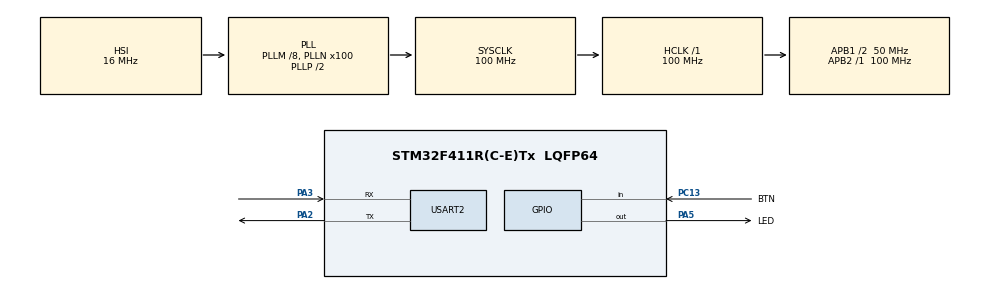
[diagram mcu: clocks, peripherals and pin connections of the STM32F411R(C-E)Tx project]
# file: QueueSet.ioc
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FREERTOS.Tasks01=defaultTask,24,128,StartDefaultTask,Default,NULL,Dynamic,NULL,NULL
FREERTOS.configUSE_NEWLIB_REENTRANT=1
Mcu.Family=STM32F4
Mcu.Name=STM32F411R(C-E)Tx
Mcu.Package=LQFP64
NVIC.PriorityGroup=NVIC_PRIORITYGROUP_4
NVIC.TIM1_UP_TIM10_IRQn=true\:15\:0\:false\:false\:true\:false\:false\:true\:true
NVIC.TimeBase=TIM1_UP_TIM10_IRQn
NVIC.TimeBaseIP=TIM1
PA13.Mode=Serial_Wire
PA13.Signal=SYS_JTMS-SWDIO
PA14.Mode=Serial_Wire
PA14.Signal=SYS_JTCK-SWCLK
PA2.Mode=Asynchronous
PA2.Signal=USART2_TX
PA3.Mode=Asynchronous
PA3.Signal=USART2_RX
PA5.GPIO_Label=LED
PA5.Signal=GPIO_Output
PC13-ANTI_TAMP.GPIO_Label=BTN
PC13-ANTI_TAMP.Signal=GPIO_Input
ProjectManager.HeapSize=0x200
ProjectManager.StackSize=0x400
ProjectManager.TargetToolchain=STM32CubeIDE
RCC.48MHZClocksFreq_Value=50000000
RCC.AHBFreq_Value=100000000
RCC.APB1CLKDivider=RCC_HCLK_DIV2
RCC.APB1Freq_Value=50000000
RCC.APB1TimFreq_Value=100000000
RCC.APB2Freq_Value=100000000
RCC.APB2TimFreq_Value=100000000
RCC.CortexFreq_Value=100000000
RCC.HCLKFreq_Value=100000000
RCC.HSE_VALUE=25000000
RCC.HSI_VALUE=16000000
RCC.LSE_VALUE=32768
RCC.PLLM=8
RCC.PLLN=100
RCC.SYSCLKFreq_VALUE=100000000
RCC.SYSCLKSource=RCC_SYSCLKSOURCE_PLLCLK
RCC.VCOOutputFreq_Value=200000000
USART2.VirtualMode=VM_ASYNC
VP_FREERTOS_VS_CMSIS_V2.Mode=CMSIS_V2
VP_SYS_VS_tim1.Mode=TIM1
board=custom

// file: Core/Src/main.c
/* USER CODE BEGIN Header */
/**
  ******************************************************************************
  * @file           : main.c
  * @brief          : Main program body
  ******************************************************************************
  * @attention
  *
  * Copyright (c) 2025 STMicroelectronics.
  * All rights reserved.
  *
  * This software is licensed under terms that can be found in the LICENSE file
  * in the root directory of this software component.
  * If no LICENSE file comes with this software, it is provided AS-IS.
  *
  ******************************************************************************
  */
/* USER CODE END Header */
#include "main.h"
#include "cmsis_os.h"

/* USER CODE BEGIN Includes */
#include "FreeRTOSConfig.h"
/**
 * FreeRTOSConfig.h dosyasında #define configUSE_QUEUE_SETS    1 tanımı yapılmıştır.
 * Bu tanım yapılmadığınde queue set fonksiyonları derlenememektedir
 */
#include "stdio.h"
#include "string.h"
#include "queue.h"

/* USER CODE END Includes */

UART_HandleTypeDef huart2;

void SystemClock_Config(void);
static void MX_GPIO_Init(void);
static void MX_USART2_UART_Init(void);

/* USER CODE BEGIN 0 */
typedef struct{
	uint8_t val1;
	uint8_t val2;
	char val3;
}msg_type1_t;

typedef struct{
	uint8_t val1;
	float val2;
}msg_type2_t;

void Tx_Task1(void *param);
void Tx_Task2(void *param);
void Rx_Task(void *param);

TaskHandle_t tx1_task_handle;
TaskHandle_t tx2_task_handle;
TaskHandle_t rx_task_handle;

QueueHandle_t q_tx1_handle;
QueueHandle_t q_tx2_handle;
QueueSetHandle_t q_set_handle;

/* USER CODE END 0 */

int main(void)
{

  /* MCU Configuration--------------------------------------------------------*/

  /* Reset of all peripherals, Initializes the Flash interface and the Systick. */
  HAL_Init();

  /* Configure the system clock */
  SystemClock_Config();

  /* Initialize all configured peripherals */
  MX_GPIO_Init();
  MX_USART2_UART_Init();

  /* Init scheduler */
  osKernelInitialize();

  /* USER CODE BEGIN RTOS_EVENTS */
  /* add events, ... */

  xTaskCreate(Tx_Task1, "Tx_Task1", 512, NULL, 2, &tx1_task_handle);
  xTaskCreate(Tx_Task2, "Tx_Task2", 512, NULL, 2, &tx2_task_handle);
  xTaskCreate(Rx_Task, "Rx_Task", 512, NULL, 1, &rx_task_handle);

  q_tx1_handle = xQueueCreate(5, sizeof(msg_type1_t));
  q_tx2_handle = xQueueCreate(5, sizeof(msg_type2_t));

  q_set_handle = xQueueCreateSet(30);
  xQueueAddToSet(q_tx1_handle, q_set_handle);
  xQueueAddToSet(q_tx2_handle, q_set_handle);

  vTaskStartScheduler();

  /* USER CODE END RTOS_EVENTS */

  /* We should never get here as control is now taken by the scheduler */

  /* Infinite loop */
  while (1)
  {

  }
}

void SystemClock_Config(void)
{
  RCC_OscInitTypeDef RCC_OscInitStruct = {0};
  RCC_ClkInitTypeDef RCC_ClkInitStruct = {0};

  /** Configure the main internal regulator output voltage
  */
  __HAL_RCC_PWR_CLK_ENABLE();
  __HAL_PWR_VOLTAGESCALING_CONFIG(PWR_REGULATOR_VOLTAGE_SCALE1);

  /** Initializes the RCC Oscillators according to the specified parameters
  * in the RCC_OscInitTypeDef structure.
  */
  RCC_OscInitStruct.OscillatorType = RCC_OSCILLATORTYPE_HSI;
  RCC_OscInitStruct.HSIState = RCC_HSI_ON;
  RCC_OscInitStruct.HSICalibrationValue = RCC_HSICALIBRATION_DEFAULT;
  RCC_OscInitStruct.PLL.PLLState = RCC_PLL_ON;
  RCC_OscInitStruct.PLL.PLLSource = RCC_PLLSOURCE_HSI;
  RCC_OscInitStruct.PLL.PLLM = 8;
  RCC_OscInitStruct.PLL.PLLN = 100;
  RCC_OscInitStruct.PLL.PLLP = RCC_PLLP_DIV2;
  RCC_OscInitStruct.PLL.PLLQ = 4;
  if (HAL_RCC_OscConfig(&RCC_OscInitStruct) != HAL_OK)
  {
    Error_Handler();
  }

  /** Initializes the CPU, AHB and APB buses clocks
  */
  RCC_ClkInitStruct.ClockType = RCC_CLOCKTYPE_HCLK|RCC_CLOCKTYPE_SYSCLK
                              |RCC_CLOCKTYPE_PCLK1|RCC_CLOCKTYPE_PCLK2;
  RCC_ClkInitStruct.SYSCLKSource = RCC_SYSCLKSOURCE_PLLCLK;
  RCC_ClkInitStruct.AHBCLKDivider = RCC_SYSCLK_DIV1;
  RCC_ClkInitStruct.APB1CLKDivider = RCC_HCLK_DIV2;
  RCC_ClkInitStruct.APB2CLKDivider = RCC_HCLK_DIV1;

  if (HAL_RCC_ClockConfig(&RCC_ClkInitStruct, FLASH_LATENCY_3) != HAL_OK)
  {
    Error_Handler();
  }
}

static void MX_USART2_UART_Init(void)
{

  huart2.Instance = USART2;
  huart2.Init.BaudRate = 115200;
  huart2.Init.WordLength = UART_WORDLENGTH_8B;
  huart2.Init.StopBits = UART_STOPBITS_1;
  huart2.Init.Parity = UART_PARITY_NONE;
  huart2.Init.Mode = UART_MODE_TX_RX;
  huart2.Init.HwFlowCtl = UART_HWCONTROL_NONE;
  huart2.Init.OverSampling = UART_OVERSAMPLING_16;
  if (HAL_UART_Init(&huart2) != HAL_OK)
  {
    Error_Handler();
  }

}

static void MX_GPIO_Init(void)
{
  GPIO_InitTypeDef GPIO_InitStruct = {0};

  /* GPIO Ports Clock Enable */
  __HAL_RCC_GPIOC_CLK_ENABLE();
  __HAL_RCC_GPIOA_CLK_ENABLE();

  /*Configure GPIO pin Output Level */
  HAL_GPIO_WritePin(LED_GPIO_Port, LED_Pin, GPIO_PIN_RESET);

  /*Configure GPIO pin : BTN_Pin */
  GPIO_InitStruct.Pin = BTN_Pin;
  GPIO_InitStruct.Mode = GPIO_MODE_INPUT;
  GPIO_InitStruct.Pull = GPIO_NOPULL;
  HAL_GPIO_Init(BTN_GPIO_Port, &GPIO_InitStruct);

  /*Configure GPIO pin : LED_Pin */
  GPIO_InitStruct.Pin = LED_Pin;
  GPIO_InitStruct.Mode = GPIO_MODE_OUTPUT_PP;
  GPIO_InitStruct.Pull = GPIO_NOPULL;
  GPIO_InitStruct.Speed = GPIO_SPEED_FREQ_LOW;
  HAL_GPIO_Init(LED_GPIO_Port, &GPIO_InitStruct);

}

/* USER CODE BEGIN 4 */
#define getMS() (xTaskGetTickCount() * (1000/configTICK_RATE_HZ))

uint8_t tx1_err = 0;
void Tx_Task1(void *param)
{
	uint32_t prev_time = 0;
	msg_type1_t msg;
	while(1)
	{
		if((getMS() - prev_time) >= 500)
		{
			prev_time = getMS();
			msg.val1++;
			msg.val2++;
			msg.val3++;
			if(xQueueSend(q_tx1_handle, &msg, pdMS_TO_TICKS(5)) != pdPASS){
				tx1_err++;
			}
		}
		vTaskDelay(1);
	}
}

uint8_t tx2_err = 0;
void Tx_Task2(void *param)
{
	uint32_t prev_time = 0;
	msg_type2_t msg;
	while(1)
	{
		if((getMS() - prev_time) >= 500)
		{
			prev_time = getMS();
			msg.val1++;
			msg.val2 = msg.val2 + 0.1;
			if(xQueueSend(q_tx2_handle, &msg, pdMS_TO_TICKS(5)) != pdPASS){
				tx2_err++;
			}
		}
	}
	vTaskDelay(1);
}

msg_type1_t msg1;
msg_type2_t msg2;
void Rx_Task(void *param)
{
	char buff[50] = {"\0"};

	while(1)
	{
		QueueSetMemberHandle_t active_member = NULL;
		active_member = xQueueSelectFromSet(q_set_handle, portMAX_DELAY);

		if(active_member == q_tx1_handle){
			xQueueReceive(q_tx1_handle, &msg1, pdMS_TO_TICKS(0));
			sprintf(buff, "v1:%d-v2:%d-v3:%d\r\n", msg1.val1, msg1.val2, msg1.val3);
			HAL_UART_Transmit(&huart2, (uint8_t*)buff, strlen(buff), pdMS_TO_TICKS(20));
		}else if(active_member == q_tx2_handle){
			xQueueReceive(q_tx2_handle, &msg2, pdMS_TO_TICKS(0));
			sprintf(buff, "v1:%d-v2:%f\r\n", msg2.val1, msg2.val2);
			HAL_UART_Transmit(&huart2, (uint8_t*)buff, strlen(buff), pdMS_TO_TICKS(20));
		}
	}
}
/* USER CODE END 4 */

void HAL_TIM_PeriodElapsedCallback(TIM_HandleTypeDef *htim)
{
  if (htim->Instance == TIM1)
  {
    HAL_IncTick();
  }
}

void Error_Handler(void)
{
  __disable_irq();
  while (1)
  {
  }
}
